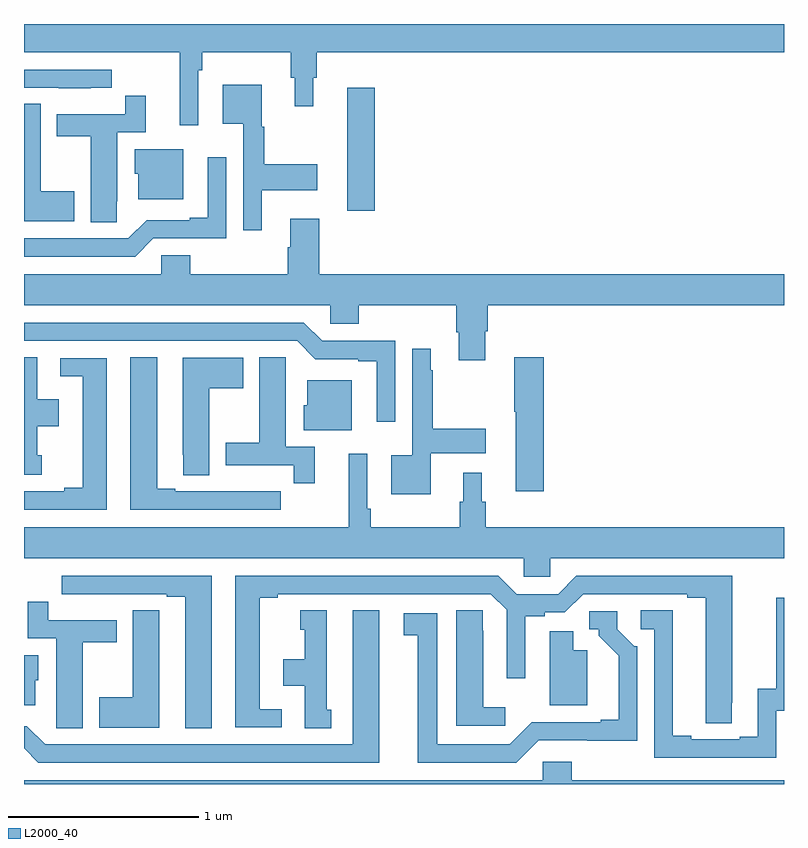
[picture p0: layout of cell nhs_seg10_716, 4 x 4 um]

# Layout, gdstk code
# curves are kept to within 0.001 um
import gdstk
lib = gdstk.Library(unit=1e-6, precision=1e-09)
def R(c, l, rs):  # rectangles x0, y0, x1, y1
    for r in rs: c.add(gdstk.rectangle(r[:2], r[2:], *l))
def P(c, l, *ps):  # polygons
    for p in ps: c.add(gdstk.Polygon(p, *l))
L2000_40 = (2000, 40)

nhs_seg10_716 = lib.new_cell('nhs_seg10_716')
R(nhs_seg10_716, L2000_40, [(148.7,1263.516,148.847,1264.165)])
P(nhs_seg10_716, L2000_40, [(148.405,1264.218),(148.424,1264.218),(148.424,1264.068),(148.522,1264.068),(148.522,1264.218),(148.541,1264.218),(148.541,1264.352),(151,1264.352),(151,1264.5),(147,1264.5),(147,1264.352),(147.821,1264.352),(147.821,1263.966),(147.918,1263.966),(147.918,1264.256),(147.938,1264.256),(147.938,1264.352),(148.405,1264.352)],
  [(147.35,1264.164),(147.463,1264.164),(147.463,1264.26),(147,1264.26),(147,1264.164),(147.184,1264.164),(147.184,1264.163),(147.35,1264.163)],
  [(148.252,1263.626),(148.543,1263.626),(148.543,1263.761),(148.264,1263.761),(148.264,1263.96),(148.252,1263.96),(148.252,1264.18),(148.046,1264.18),(148.046,1263.974),(148.155,1263.974),(148.155,1263.414),(148.252,1263.414)],
  [(147.489,1263.568),(147.49,1263.568),(147.49,1263.93),(147.641,1263.93),(147.641,1264.123),(147.532,1264.123),(147.532,1264.026),(147.173,1264.026),(147.173,1263.91),(147.35,1263.91),(147.35,1263.457),(147.489,1263.457)],
  [(147.265,1263.621),(147.088,1263.621),(147.088,1264.079),(147,1264.079),(147,1263.461),(147.265,1263.461)],
  [(147.838,1263.841),(147.584,1263.841),(147.584,1263.711),(147.602,1263.711),(147.602,1263.578),(147.838,1263.578)],
  [(147.681,1263.372),(148.065,1263.372),(148.065,1263.799),(147.968,1263.799),(147.968,1263.481),(147.872,1263.481),(147.872,1263.468),(147.645,1263.468),(147.549,1263.372),(147,1263.372),(147,1263.276),(147.585,1263.276)],
  [(149.428,1262.883),(149.441,1262.883),(149.441,1263.02),(151,1263.02),(151,1263.184),(148.553,1263.184),(148.553,1263.475),(148.4,1263.475),(148.4,1263.326),(148.388,1263.326),(148.388,1263.184),(147.875,1263.184),(147.875,1263.282),(147.723,1263.282),(147.723,1263.184),(147,1263.184),(147,1263.02),(148.611,1263.02),(148.611,1262.922),(148.763,1262.922),(148.763,1263.02),(149.276,1263.02),(149.276,1262.878),(149.288,1262.878),(149.288,1262.73),(149.428,1262.73)],
  [(148.953,1262.832),(148.569,1262.832),(148.473,1262.928),(147,1262.928),(147,1262.832),(148.437,1262.832),(148.533,1262.736),(148.76,1262.736),(148.76,1262.724),(148.856,1262.724),(148.856,1262.406),(148.953,1262.406)],
  [(149.14,1262.24),(149.431,1262.24),(149.431,1262.37),(149.152,1262.37),(149.152,1262.678),(149.14,1262.678),(149.14,1262.791),(149.043,1262.791),(149.043,1262.23),(148.934,1262.23),(148.934,1262.024),(149.14,1262.024)],
  [(148.529,1262.274),(148.378,1262.274),(148.378,1262.636),(148.377,1262.636),(148.377,1262.747),(148.238,1262.747),(148.238,1262.295),(148.061,1262.295),(148.061,1262.178),(148.42,1262.178),(148.42,1262.082),(148.529,1262.082)],
  [(147.094,1262.229),(147.07,1262.229),(147.07,1262.384),(147.184,1262.384),(147.184,1262.524),(147.07,1262.524),(147.07,1262.747),(147,1262.747),(147,1262.127),(147.094,1262.127)],
  [(148.351,1262.04),(148.238,1262.04),(148.238,1262.041),(148.072,1262.041),(148.072,1262.04),(147.796,1262.04),(147.796,1262.055),(147.7,1262.055),(147.7,1262.747),(147.56,1262.747),(147.56,1261.944),(148.351,1261.944)],
  [(149.735,1262.746),(149.581,1262.746),(149.581,1262.458),(149.588,1262.458),(149.588,1262.04),(149.735,1262.04)],
  [(147.976,1262.584),(148.153,1262.584),(148.153,1262.743),(147.836,1262.743),(147.836,1262.233),(147.837,1262.233),(147.837,1262.125),(147.976,1262.125)],
  [(147.436,1262.742),(147.192,1262.742),(147.192,1262.646),(147.308,1262.646),(147.308,1262.06),(147.212,1262.06),(147.212,1262.04),(147,1262.04),(147,1261.944),(147.436,1261.944)],
  [(148.726,1262.626),(148.49,1262.626),(148.49,1262.493),(148.472,1262.493),(148.472,1262.363),(148.726,1262.363)],
  [(149.769,1261.688),(151,1261.688),(151,1261.852),(149.429,1261.852),(149.429,1261.986),(149.41,1261.986),(149.41,1262.137),(149.312,1262.137),(149.312,1261.986),(149.293,1261.986),(149.293,1261.852),(148.826,1261.852),(148.826,1261.948),(148.806,1261.948),(148.806,1262.239),(148.709,1262.239),(148.709,1261.852),(147,1261.852),(147,1261.688),(149.631,1261.688),(149.631,1261.59),(149.769,1261.59)],
  [(148.357,1260.894),(148.24,1260.894),(148.24,1261.48),(148.336,1261.48),(148.336,1261.5),(149.457,1261.5),(149.541,1261.416),(149.541,1261.056),(149.638,1261.056),(149.638,1261.384),(149.742,1261.384),(149.742,1261.404),(149.847,1261.404),(149.943,1261.5),(150.491,1261.5),(150.491,1261.48),(150.587,1261.48),(150.587,1260.82),(150.726,1260.82),(150.727,1261.596),(149.907,1261.596),(149.811,1261.5),(149.593,1261.5),(149.497,1261.596),(148.112,1261.596),(148.112,1260.798),(148.357,1260.798)],
  [(147.988,1261.596),(147.198,1261.596),(147.198,1261.5),(147.31,1261.5),(147.31,1261.499),(147.476,1261.499),(147.476,1261.5),(147.752,1261.5),(147.752,1261.485),(147.848,1261.485),(147.848,1260.793),(147.988,1260.793)],
  [(150.96,1260.885),(151,1260.885),(151,1261.479),(150.958,1261.479),(150.958,1261.001),(150.863,1261.001),(150.863,1260.75),(150.767,1260.75),(150.767,1260.735),(150.511,1260.735),(150.511,1260.755),(150.415,1260.755),(150.415,1261.415),(150.246,1261.415),(150.246,1261.314),(150.318,1261.314),(150.318,1260.639),(150.96,1260.639)],
  [(147.31,1261.246),(147.487,1261.246),(147.487,1261.362),(147.128,1261.362),(147.128,1261.459),(147.02,1261.459),(147.02,1261.266),(147.17,1261.266),(147.17,1260.904),(147.171,1260.904),(147.171,1260.793),(147.31,1260.793)],
  [(147.712,1261.307),(147.711,1261.307),(147.711,1261.415),(147.572,1261.415),(147.572,1260.957),(147.395,1260.957),(147.395,1260.797),(147.712,1260.797)],
  [(149.533,1260.904),(149.416,1260.904),(149.416,1261.307),(149.415,1261.307),(149.415,1261.415),(149.276,1261.415),(149.276,1260.807),(149.533,1260.807)],
  [(148.87,1261.414),(148.73,1261.414),(148.73,1260.708),(147.111,1260.708),(147.015,1260.804),(147,1260.804),(147,1260.687),(147.075,1260.612),(148.87,1260.612)],
  [(148.618,1260.891),(148.594,1260.891),(148.594,1261.414),(148.454,1261.414),(148.454,1261.311),(148.478,1261.311),(148.478,1261.156),(148.364,1261.156),(148.364,1261.016),(148.478,1261.016),(148.478,1260.793),(148.618,1260.793)],
  [(149.709,1260.729),(150.228,1260.728),(150.228,1261.224),(150.213,1261.224),(150.123,1261.314),(150.123,1261.41),(149.976,1261.41),(149.976,1261.314),(150.026,1261.314),(150.026,1261.279),(150.131,1261.174),(150.131,1260.838),(150.035,1260.838),(150.035,1260.825),(149.673,1260.825),(149.556,1260.708),(149.176,1260.708),(149.176,1261.398),(148.998,1261.398),(148.998,1261.282),(149.072,1261.282),(149.072,1260.612),(149.592,1260.612)],
  [(149.965,1261.204),(149.89,1261.204),(149.89,1261.303),(149.768,1261.303),(149.768,1260.914),(149.965,1260.914)],
  [(147.058,1261.047),(147.076,1261.047),(147.076,1261.177),(147,1261.177),(147,1260.914),(147.058,1260.914)],
  [(151,1260.52),(149.882,1260.52),(149.882,1260.618),(149.73,1260.618),(149.73,1260.52),(147,1260.52),(147,1260.5),(151,1260.5)])

lib.write_gds('nhs_seg10_716.gds')
